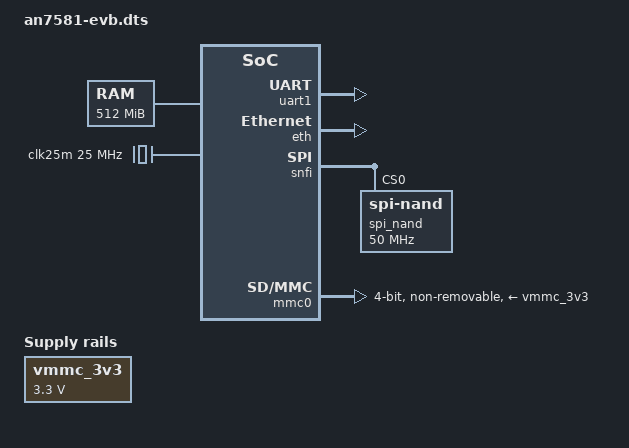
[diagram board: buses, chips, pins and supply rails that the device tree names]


#include <dt-bindings/interrupt-controller/irq.h>
#include <dt-bindings/interrupt-controller/arm-gic.h>
#include <dt-bindings/gpio/gpio.h>
#include <dt-bindings/input/input.h>
#include <dt-bindings/reset/airoha,en7581-reset.h>
#include <dt-bindings/clock/en7523-clk.h>
/dts-v1/;

/ {
	compatible = "airoha,an7581";
	interrupt-parent = <&gic>;
	#address-cells = <2>;
	#size-cells = <2>;

	chosen {
		stdout-path = &uart1;
	};

	memory@80000000 {
		device_type = "memory";
		reg = <0x0 0x80000000 0x0 0x20000000>;
	};

	reserved-memory {
		#address-cells = <2>;
		#size-cells = <2>;
		ranges;

		atf-reserved-memory@80000000 {
			no-map;
			reg = <0x0 0x80000000 0x0 0x40000>;
		};
	};

	psci {
		compatible = "arm,psci-0.2";
		method = "smc";
	};

	cpus {
		#address-cells = <1>;
		#size-cells = <0>;

		cpu-map {
			cluster0 {
				core0 {
					cpu = <&cpu0>;
				};
				core1 {
					cpu = <&cpu1>;
				};
				core2 {
					cpu = <&cpu2>;
				};
				core3 {
					cpu = <&cpu3>;
				};
			};
		};

		cpu0: cpu@0 {
			device_type = "cpu";
			compatible = "arm,cortex-a53";
			reg = <0x0>;
			enable-method = "psci";
			clock-frequency = <80000000>;
			next-level-cache = <&L2_0>;
		};

		cpu1: cpu@1 {
			device_type = "cpu";
			compatible = "arm,cortex-a53";
			reg = <0x1>;
			enable-method = "psci";
			clock-frequency = <80000000>;
			next-level-cache = <&L2_0>;
		};

		cpu2: cpu@2 {
			device_type = "cpu";
			compatible = "arm,cortex-a53";
			reg = <0x2>;
			enable-method = "psci";
			clock-frequency = <80000000>;
			next-level-cache = <&L2_0>;
		};

		cpu3: cpu@3 {
			device_type = "cpu";
			compatible = "arm,cortex-a53";
			reg = <0x3>;
			enable-method = "psci";
			clock-frequency = <80000000>;
			next-level-cache = <&L2_0>;
		};

		L2_0: l2-cache0 {
			compatible = "cache";
		};
	};

	gic: interrupt-controller@09000000 {
		compatible = "arm,gic-v3";
		interrupt-controller;
		#interrupt-cells = <3>;
		#address-cells = <1>;
		#size-cells = <1>;
		reg = <0x0 0x09000000 0x0 0x20000>,
			  <0x0 0x09080000 0x0 0x80000>;
		interrupts = <GIC_PPI 9 IRQ_TYPE_LEVEL_LOW>;

		its: gic-its@09020000 {
			compatible = "arm,gic-v3-its";
			msi-controller;
			#msi-cell = <1>;
			reg = <0x0 0x090200000 0x0 0x20000>;
		};
	};


	timer {
		compatible = "arm,armv8-timer";
		interrupt-parent = <&gic>;
		interrupts = <GIC_PPI 13 (GIC_CPU_MASK_SIMPLE(4) | IRQ_TYPE_LEVEL_LOW)>,
			     <GIC_PPI 14 (GIC_CPU_MASK_SIMPLE(4) | IRQ_TYPE_LEVEL_LOW)>,
			     <GIC_PPI 11 (GIC_CPU_MASK_SIMPLE(4) | IRQ_TYPE_LEVEL_LOW)>,
			     <GIC_PPI 10 (GIC_CPU_MASK_SIMPLE(4) | IRQ_TYPE_LEVEL_LOW)>;
		clock-frequency = <25000000>;
	};

	pmu {
		compatible = "arm,cortex-a15-pmu";
		interrupts = <GIC_PPI 7 IRQ_TYPE_LEVEL_HIGH>;
	};

	uart1: serial@1fbf0000 {
		compatible = "ns16550";
		reg = <0x0 0x1fbf0000 0x0 0x30>;
		reg-io-width = <4>;
		reg-shift = <2>;
		interrupts = <GIC_SPI 18 IRQ_TYPE_LEVEL_HIGH>;
		clock-frequency = <1843200>;
		bootph-all;
	};

	chip_scu: syscon@1fa20000 {
		compatible = "airoha,en7581-chip-scu", "syscon";
		reg = <0x0 0x1fa20000 0x0 0x388>;
	};

	scuclk: reset-controller@1fa20000 {
		compatible = "airoha,en7581-scu", "syscon";
		reg = <0x0 0x1fb00000 0x0 0x970>;
		#clock-cells = <1>;
		#reset-cells = <1>;

		scu_ssr: system-controller {
			compatible = "airoha,an7581-scu-ssr";
		};
	};

	eth: ethernet@1fb50000 {
		compatible = "airoha,en7581-eth";
		reg = <0 0x1fb50000 0 0x2600>,
			<0 0x1fb54000 0 0x2000>,
			<0 0x1fb56000 0 0x2000>;
		reg-names = "fe", "qdma0", "qdma1";

		resets = <&scuclk EN7581_FE_RST>,
			 <&scuclk EN7581_FE_PDMA_RST>,
			 <&scuclk EN7581_FE_QDMA_RST>,
			 <&scuclk EN7581_DUAL_HSI0_MAC_RST>,
			 <&scuclk EN7581_DUAL_HSI1_MAC_RST>,
			 <&scuclk EN7581_HSI_MAC_RST>,
			 <&scuclk EN7581_XFP_MAC_RST>;
		reset-names = "fe", "pdma", "qdma",
			      "hsi0-mac", "hsi1-mac", "hsi-mac",
			      "xfp-mac";
	};

	switch: switch@1fb58000 {
		compatible = "airoha,en7581-switch";
		reg = <0 0x1fb58000 0 0x8000>;
	};

	clk25m: oscillator {
		compatible = "fixed-clock";
		#clock-cells = <0>;
		clock-frequency = <25000000>;
		clock-output-names = "clkxtal";
	};

	vmmc_3v3: regulator-vmmc-3v3 {
		compatible = "regulator-fixed";
		regulator-name = "vmmc";
		regulator-min-microvolt = <3300000>;
		regulator-max-microvolt = <3300000>;
		regulator-always-on;
	};

	snfi: spi@1fa10000 {
		compatible = "airoha,en7581-snand";
		reg = <0x0 0x1fa10000 0x0 0x140>,
		      <0x0 0x1fa11000 0x0 0x600>;

		clocks = <&scuclk EN7523_CLK_SPI>;
		clock-names = "spi";

		#address-cells = <1>;
		#size-cells = <0>;

		spi_nand: nand@0 {
			compatible = "spi-nand";
			reg = <0>;
			spi-max-frequency = <50000000>;
			spi-tx-bus-width = <1>;
			spi-rx-bus-width = <2>;
		};
	};

	mmc0: mmc@1fa0e000 {
		compatible = "mediatek,mt7622-mmc";
		reg = <0x0 0x1fa0e000 0x0 0x1000>,
			<0x0 0x1fa0c000 0x0 0x60>;
		interrupts = <GIC_SPI 170 IRQ_TYPE_LEVEL_HIGH>;
		clocks = <&scuclk EN7581_CLK_EMMC>, <&clk25m>;
		clock-names = "source", "hclk";
		bus-width = <4>;
		max-frequency = <52000000>;
		vmmc-supply = <&vmmc_3v3>;
		disable-wp;
		cap-mmc-highspeed;
		non-removable;

		assigned-clocks = <&scuclk EN7581_CLK_EMMC>;
		assigned-clock-rates = <200000000>;
	};
};
